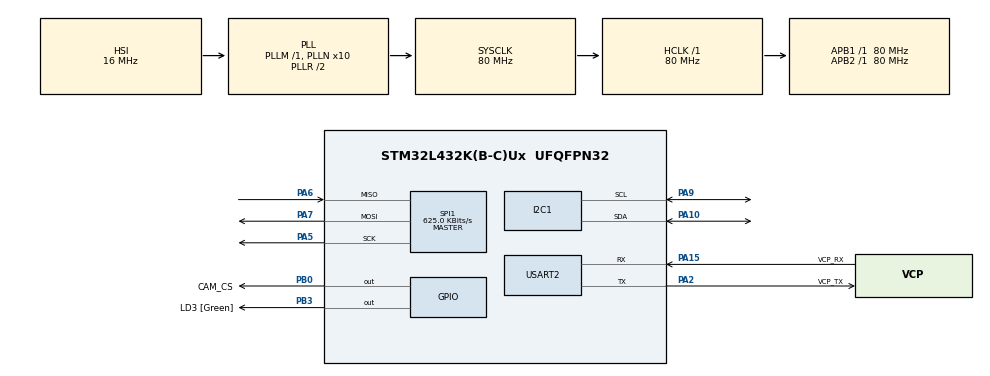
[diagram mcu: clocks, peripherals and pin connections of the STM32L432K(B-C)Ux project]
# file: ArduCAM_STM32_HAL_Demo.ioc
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Dma.Request0=SPI1_RX
Dma.Request1=SPI1_TX
Dma.SPI1_RX.0.Direction=DMA_PERIPH_TO_MEMORY
Dma.SPI1_RX.0.Instance=DMA1_Channel2
Dma.SPI1_RX.0.MemDataAlignment=DMA_MDATAALIGN_BYTE
Dma.SPI1_RX.0.MemInc=DMA_MINC_ENABLE
Dma.SPI1_RX.0.Mode=DMA_NORMAL
Dma.SPI1_RX.0.PeriphDataAlignment=DMA_PDATAALIGN_BYTE
Dma.SPI1_RX.0.PeriphInc=DMA_PINC_DISABLE
Dma.SPI1_RX.0.Priority=DMA_PRIORITY_HIGH
Dma.SPI1_TX.1.Direction=DMA_MEMORY_TO_PERIPH
Dma.SPI1_TX.1.Instance=DMA1_Channel3
Dma.SPI1_TX.1.MemDataAlignment=DMA_MDATAALIGN_BYTE
Dma.SPI1_TX.1.MemInc=DMA_MINC_ENABLE
Dma.SPI1_TX.1.Mode=DMA_NORMAL
Dma.SPI1_TX.1.PeriphDataAlignment=DMA_PDATAALIGN_BYTE
Dma.SPI1_TX.1.PeriphInc=DMA_PINC_DISABLE
Dma.SPI1_TX.1.Priority=DMA_PRIORITY_HIGH
I2C1.Timing=0x10909CEC
Mcu.Family=STM32L4
Mcu.Name=STM32L432K(B-C)Ux
Mcu.Package=UFQFPN32
NVIC.DMA1_Channel2_IRQn=true\:0\:0\:false\:false\:true\:false\:true\:true
NVIC.DMA1_Channel3_IRQn=true\:0\:0\:false\:false\:true\:false\:true\:true
NVIC.PriorityGroup=NVIC_PRIORITYGROUP_4
PA0.GPIO_Label=MCO [High speed clock in]
PA0.Mode=HSE-External-Clock-Source-for-LittleOrca
PA0.Signal=RCC_CK_IN
PA10.GPIO_Pu=GPIO_PULLUP
PA10.Mode=I2C
PA10.Signal=I2C1_SDA
PA13\ (JTMS-SWDIO).GPIO_Label=SWDIO
PA13\ (JTMS-SWDIO).Mode=Serial_Wire
PA13\ (JTMS-SWDIO).Signal=SYS_JTMS-SWDIO
PA14\ (JTCK-SWCLK).GPIO_Label=SWCLK
PA14\ (JTCK-SWCLK).Mode=Serial_Wire
PA14\ (JTCK-SWCLK).Signal=SYS_JTCK-SWCLK
PA15\ (JTDI).GPIO_Label=VCP_RX
PA15\ (JTDI).GPIO_PuPd=GPIO_PULLUP
PA15\ (JTDI).Mode=Asynchronous
PA15\ (JTDI).Signal=USART2_RX
PA2.GPIO_Label=VCP_TX
PA2.GPIO_PuPd=GPIO_PULLUP
PA2.Mode=Asynchronous
PA2.Signal=USART2_TX
PA5.GPIO_PuPd=GPIO_PULLUP
PA5.Mode=Full_Duplex_Master
PA5.Signal=SPI1_SCK
PA6.GPIO_PuPd=GPIO_PULLUP
PA6.Mode=Full_Duplex_Master
PA6.Signal=SPI1_MISO
PA7.GPIO_PuPd=GPIO_PULLUP
PA7.Mode=Full_Duplex_Master
PA7.Signal=SPI1_MOSI
PA9.GPIO_Pu=GPIO_PULLUP
PA9.Mode=I2C
PA9.Signal=I2C1_SCL
PB0.GPIO_Label=CAM_CS
PB0.GPIO_Speed=GPIO_SPEED_FREQ_MEDIUM
PB0.PinState=GPIO_PIN_SET
PB0.Signal=GPIO_Output
PB3\ (JTDO-TRACESWO).GPIO_Label=LD3 [Green]
PB3\ (JTDO-TRACESWO).PinState=GPIO_PIN_SET
PB3\ (JTDO-TRACESWO).Signal=GPIO_Output
PC14-OSC32_IN\ (PC14).Mode=LSE-External-Oscillator
PC14-OSC32_IN\ (PC14).Signal=RCC_OSC32_IN
PC15-OSC32_OUT\ (PC15).Mode=LSE-External-Oscillator
PC15-OSC32_OUT\ (PC15).Signal=RCC_OSC32_OUT
ProjectManager.HeapSize=0x1000
ProjectManager.StackSize=0x1000
ProjectManager.TargetToolchain=Makefile
RCC.ADCFreq_Value=64000000
RCC.AHBFreq_Value=80000000
RCC.APB1Freq_Value=80000000
RCC.APB1TimFreq_Value=80000000
RCC.APB2Freq_Value=80000000
RCC.APB2TimFreq_Value=80000000
RCC.CortexFreq_Value=80000000
RCC.HCLKFreq_Value=80000000
RCC.HSE_VALUE=8000000
RCC.HSI16_VALUE=16000000
RCC.HSI48_VALUE=48000000
RCC.HSI_VALUE=16000000
RCC.MSI_VALUE=4000000
RCC.PLLMUL=RCC_PLLMUL_4
RCC.PLLN=10
RCC.PLLSourceVirtual=RCC_PLLSOURCE_HSI
RCC.SYSCLKFreq_VALUE=80000000
RCC.SYSCLKSource=RCC_SYSCLKSOURCE_PLLCLK
RCC.USBFreq_Value=64000000
RCC.VCOOutputFreq_Value=160000000
SPI1.BaudRatePrescaler=SPI_BAUDRATEPRESCALER_128
SPI1.CRCCalculation=SPI_CRCCALCULATION_DISABLE
SPI1.CalculateBaudRate=625.0 KBits/s
SPI1.DataSize=SPI_DATASIZE_8BIT
SPI1.Direction=SPI_DIRECTION_2LINES
SPI1.Mode=SPI_MODE_MASTER
SPI1.NSSPMode=SPI_NSS_PULSE_DISABLE
SPI1.VirtualType=VM_MASTER
USART2.VirtualMode-Asynchronous=VM_ASYNC
board=NUCLEO-L432KC

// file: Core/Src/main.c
/* USER CODE BEGIN Header */

/**
  ******************************************************************************
  * @file           : main.c
  * @brief          : Main program body
  ******************************************************************************
  * @attention
  *
  * Copyright (c) 2022 STMicroelectronics.
  * All rights reserved.
  *
  * This software is licensed under terms that can be found in the LICENSE file
  * in the root directory of this software component.
  * If no LICENSE file comes with this software, it is provided AS-IS.
  *
  ******************************************************************************
  */
/* USER CODE END Header */
#include "main.h"

/* USER CODE BEGIN Includes */
#include "SPI_camera.hpp"
#include "OV5642.hpp"
#include "OV5642_regs.hpp"
#include "imager.hpp"
/* USER CODE END Includes */

I2C_HandleTypeDef hi2c1;

SPI_HandleTypeDef hspi1;
DMA_HandleTypeDef hdma_spi1_rx;
DMA_HandleTypeDef hdma_spi1_tx;

UART_HandleTypeDef huart2;

void SystemClock_Config(void);
static void MX_GPIO_Init(void);
static void MX_DMA_Init(void);
static void MX_USART2_UART_Init(void);
static void MX_I2C1_Init(void);
static void MX_SPI1_Init(void);

/* USER CODE BEGIN 0 */

void Init_SPI_clock(){
    uint8_t empty = 0x00;
    HAL_GPIO_WritePin(GPIOB, GPIO_PIN_0, GPIO_PIN_RESET);
    HAL_SPI_Transmit(&hspi1, &empty, 1, HAL_MAX_DELAY);
    HAL_SPI_Receive(&hspi1, (uint8_t *) &empty, 1, HAL_MAX_DELAY);
    HAL_GPIO_WritePin(GPIOB, GPIO_PIN_0, GPIO_PIN_SET);
}

void Image_capture(OV5642 *camera, Imager *imager){
    camera->Capture(500);
    imager->Transmit(camera->Image_data());

    // Turn Off LED
    HAL_GPIO_WritePin(GPIOB, GPIO_PIN_3, GPIO_PIN_RESET);
}

/* USER CODE END 0 */

int main(void){

    /* MCU Configuration--------------------------------------------------------*/

    /* Reset of all peripherals, Initializes the Flash interface and the Systick. */
    HAL_Init();

    /* Configure the system clock */
    SystemClock_Config();

    /* Initialize all configured peripherals */
    MX_GPIO_Init();
    MX_DMA_Init();
    MX_USART2_UART_Init();
    MX_I2C1_Init();
    MX_SPI1_Init();
    /* USER CODE BEGIN 2 */
    HAL_Delay(10);
    Init_SPI_clock();

    // Wait for power stabilization
    HAL_Delay(1000);

    // Initialize exporter
    Imager *imager = new Imager();
    imager->Add_output(huart2);

    // Initialize camera
    OV5642 *camera = new OV5642(hi2c1, hspi1, SPI_camera::Chip_select_pin{ GPIOB, GPIO_PIN_0 });
    camera->Init(ov5642_320x240);

    Image_capture(camera, imager);

    /* USER CODE END 2 */

    /* Infinite loop */
    while (1) {

    }
} // main

void SystemClock_Config(void){
    RCC_OscInitTypeDef RCC_OscInitStruct = { 0 };
    RCC_ClkInitTypeDef RCC_ClkInitStruct = { 0 };

    /** Configure the main internal regulator output voltage
    */
    if (HAL_PWREx_ControlVoltageScaling(PWR_REGULATOR_VOLTAGE_SCALE1) != HAL_OK) {
        Error_Handler();
    }

    /** Initializes the RCC Oscillators according to the specified parameters
    * in the RCC_OscInitTypeDef structure.
    */
    RCC_OscInitStruct.OscillatorType      = RCC_OSCILLATORTYPE_HSI;
    RCC_OscInitStruct.HSIState            = RCC_HSI_ON;
    RCC_OscInitStruct.HSICalibrationValue = RCC_HSICALIBRATION_DEFAULT;
    RCC_OscInitStruct.PLL.PLLState        = RCC_PLL_ON;
    RCC_OscInitStruct.PLL.PLLSource       = RCC_PLLSOURCE_HSI;
    RCC_OscInitStruct.PLL.PLLM            = 1;
    RCC_OscInitStruct.PLL.PLLN            = 10;
    RCC_OscInitStruct.PLL.PLLP            = RCC_PLLP_DIV7;
    RCC_OscInitStruct.PLL.PLLQ            = RCC_PLLQ_DIV2;
    RCC_OscInitStruct.PLL.PLLR            = RCC_PLLR_DIV2;
    if (HAL_RCC_OscConfig(&RCC_OscInitStruct) != HAL_OK) {
        Error_Handler();
    }

    /** Initializes the CPU, AHB and APB buses clocks
    */
    RCC_ClkInitStruct.ClockType = RCC_CLOCKTYPE_HCLK | RCC_CLOCKTYPE_SYSCLK
      | RCC_CLOCKTYPE_PCLK1 | RCC_CLOCKTYPE_PCLK2;
    RCC_ClkInitStruct.SYSCLKSource   = RCC_SYSCLKSOURCE_PLLCLK;
    RCC_ClkInitStruct.AHBCLKDivider  = RCC_SYSCLK_DIV1;
    RCC_ClkInitStruct.APB1CLKDivider = RCC_HCLK_DIV1;
    RCC_ClkInitStruct.APB2CLKDivider = RCC_HCLK_DIV1;

    if (HAL_RCC_ClockConfig(&RCC_ClkInitStruct, FLASH_LATENCY_4) != HAL_OK) {
        Error_Handler();
    }
} // SystemClock_Config

static void MX_I2C1_Init(void){

    hi2c1.Instance              = I2C1;
    hi2c1.Init.Timing           = 0x10909CEC;
    hi2c1.Init.OwnAddress1      = 0;
    hi2c1.Init.AddressingMode   = I2C_ADDRESSINGMODE_7BIT;
    hi2c1.Init.DualAddressMode  = I2C_DUALADDRESS_DISABLE;
    hi2c1.Init.OwnAddress2      = 0;
    hi2c1.Init.OwnAddress2Masks = I2C_OA2_NOMASK;
    hi2c1.Init.GeneralCallMode  = I2C_GENERALCALL_DISABLE;
    hi2c1.Init.NoStretchMode    = I2C_NOSTRETCH_DISABLE;
    if (HAL_I2C_Init(&hi2c1) != HAL_OK) {
        Error_Handler();
    }

    /** Configure Analogue filter
    */
    if (HAL_I2CEx_ConfigAnalogFilter(&hi2c1, I2C_ANALOGFILTER_ENABLE) != HAL_OK) {
        Error_Handler();
    }

    /** Configure Digital filter
    */
    if (HAL_I2CEx_ConfigDigitalFilter(&hi2c1, 0) != HAL_OK) {
        Error_Handler();
    }
} // MX_I2C1_Init

static void MX_SPI1_Init(void){

    /* SPI1 parameter configuration*/
    hspi1.Instance               = SPI1;
    hspi1.Init.Mode              = SPI_MODE_MASTER;
    hspi1.Init.Direction         = SPI_DIRECTION_2LINES;
    hspi1.Init.DataSize          = SPI_DATASIZE_8BIT;
    hspi1.Init.CLKPolarity       = SPI_POLARITY_LOW;
    hspi1.Init.CLKPhase          = SPI_PHASE_1EDGE;
    hspi1.Init.NSS               = SPI_NSS_SOFT;
    hspi1.Init.BaudRatePrescaler = SPI_BAUDRATEPRESCALER_128;
    hspi1.Init.FirstBit          = SPI_FIRSTBIT_MSB;
    hspi1.Init.TIMode            = SPI_TIMODE_DISABLE;
    hspi1.Init.CRCCalculation    = SPI_CRCCALCULATION_DISABLE;
    hspi1.Init.CRCPolynomial     = 7;
    hspi1.Init.CRCLength         = SPI_CRC_LENGTH_DATASIZE;
    hspi1.Init.NSSPMode          = SPI_NSS_PULSE_DISABLE;
    if (HAL_SPI_Init(&hspi1) != HAL_OK) {
        Error_Handler();
    }
}

static void MX_USART2_UART_Init(void){

    huart2.Instance                    = USART2;
    huart2.Init.BaudRate               = 115200;
    huart2.Init.WordLength             = UART_WORDLENGTH_8B;
    huart2.Init.StopBits               = UART_STOPBITS_1;
    huart2.Init.Parity                 = UART_PARITY_NONE;
    huart2.Init.Mode                   = UART_MODE_TX_RX;
    huart2.Init.HwFlowCtl              = UART_HWCONTROL_NONE;
    huart2.Init.OverSampling           = UART_OVERSAMPLING_16;
    huart2.Init.OneBitSampling         = UART_ONE_BIT_SAMPLE_DISABLE;
    huart2.AdvancedInit.AdvFeatureInit = UART_ADVFEATURE_NO_INIT;
    if (HAL_UART_Init(&huart2) != HAL_OK) {
        Error_Handler();
    }
}

static void MX_DMA_Init(void){
    /* DMA controller clock enable */
    __HAL_RCC_DMA1_CLK_ENABLE();

    /* DMA interrupt init */
    /* DMA1_Channel2_IRQn interrupt configuration */
    HAL_NVIC_SetPriority(DMA1_Channel2_IRQn, 0, 0);
    HAL_NVIC_EnableIRQ(DMA1_Channel2_IRQn);
    /* DMA1_Channel3_IRQn interrupt configuration */
    HAL_NVIC_SetPriority(DMA1_Channel3_IRQn, 0, 0);
    HAL_NVIC_EnableIRQ(DMA1_Channel3_IRQn);
}

static void MX_GPIO_Init(void){
    GPIO_InitTypeDef GPIO_InitStruct = { 0 };

    /* GPIO Ports Clock Enable */
    __HAL_RCC_GPIOC_CLK_ENABLE();
    __HAL_RCC_GPIOA_CLK_ENABLE();
    __HAL_RCC_GPIOB_CLK_ENABLE();

    /*Configure GPIO pin Output Level */
    HAL_GPIO_WritePin(GPIOB, CAM_CS_Pin | LD3_Pin, GPIO_PIN_SET);

    /*Configure GPIO pin : CAM_CS_Pin */
    GPIO_InitStruct.Pin   = CAM_CS_Pin;
    GPIO_InitStruct.Mode  = GPIO_MODE_OUTPUT_PP;
    GPIO_InitStruct.Pull  = GPIO_NOPULL;
    GPIO_InitStruct.Speed = GPIO_SPEED_FREQ_MEDIUM;
    HAL_GPIO_Init(CAM_CS_GPIO_Port, &GPIO_InitStruct);

    /*Configure GPIO pin : LD3_Pin */
    GPIO_InitStruct.Pin   = LD3_Pin;
    GPIO_InitStruct.Mode  = GPIO_MODE_OUTPUT_PP;
    GPIO_InitStruct.Pull  = GPIO_NOPULL;
    GPIO_InitStruct.Speed = GPIO_SPEED_FREQ_LOW;
    HAL_GPIO_Init(LD3_GPIO_Port, &GPIO_InitStruct);
}

void Error_Handler(void){
    __disable_irq();
    while (1) { }
}
